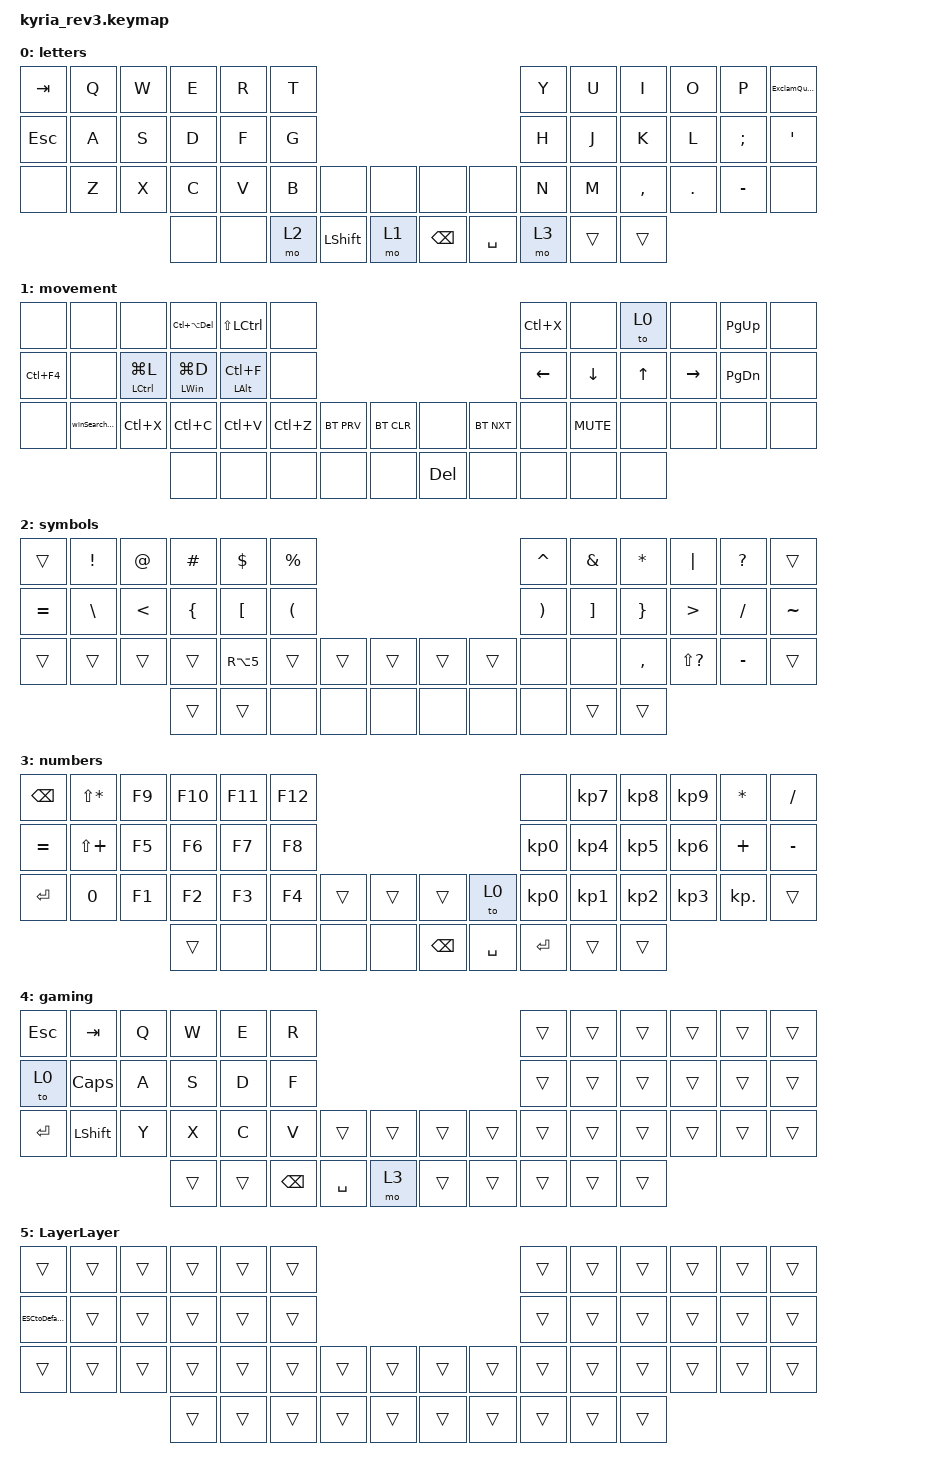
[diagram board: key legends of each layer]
/*
 * Copyright (c) 2023 The ZMK Contributors
 *
 * SPDX-License-Identifier: MIT
 */

#include <behaviors.dtsi>
#include <dt-bindings/zmk/bt.h>
#include <dt-bindings/zmk/keys.h>

// layer numbers

#define default 0
#define writing 1

// Uncomment this block if using RGB

&led_strip {
    //chain-length = <6>;
    // chain-length = <31>; // Uncomment if using both per-key and underglow LEDs
    //chain-length = <25>; // Uncomment if using only per-key LEDs.
};

&mt { flavor = "tap-preferred"; };

/ {
    macros {
        ESCtoDefaultLayer: ESCtoDefaultLayer {
            compatible = "zmk,behavior-macro";
            #binding-cells = <0>;
            bindings = <&kp ESC &to 1>;
            label = "ESCTODEFAULTLAYER";
        };

        winSearchForProg: winSearchForProg {
            compatible = "zmk,behavior-macro";
            #binding-cells = <0>;
            bindings = <&kp LEFT_GUI &to 0>;
            label = "WINSEARCHFORPROG";
        };
    };

    combos {
        compatible = "zmk,combos";

        toNumberLayer {
            bindings = <&to 3>;
            key-positions = <42 47>;
        };

        toTheLayerLayer {
            bindings = <&mo 5>;
            key-positions = <44 45>;
        };

        BLClear {
            bindings = <&bt BT_CLR>;
            key-positions = <30 33>;
        };

        enter {
            bindings = <&kp ENTER>;
            key-positions = <19 20 21>;
        };

        control {
            bindings = <&kp LEFT_CONTROL>;
            key-positions = <12 43>;
        };

        ralt {
            bindings = <&kp RIGHT_ALT>;
            key-positions = <44 12>;
        };

        lalt {
            bindings = <&kp LEFT_ALT>;
            key-positions = <42 12>;
        };

        LAlt+CTRL {
            bindings = <&kp LC(LEFT_ALT)>;
            key-positions = <43 42 12>;
        };

        RAlt+CTRL {
            bindings = <&kp RC(RIGHT_ALT)>;
            key-positions = <44 43 12>;
        };
    };

    behaviors {
        ExclamQuestionMark: ExclamQuestionMark {
            compatible = "zmk,behavior-tap-dance";
            label = "EXCLAMQUESTIONMARK";
            #binding-cells = <0>;
            bindings = <&kp QUESTION>, <&kp EXCLAMATION>;
        };
    };

    keymap {
        compatible = "zmk,keymap";

        writing {
            bindings = <
&kp TAB     &kp Q  &kp W  &kp E  &kp R  &kp T                                              &kp Y  &kp U   &kp I      &kp O       &kp P          &ExclamQuestionMark
&kp ESCAPE  &kp A  &kp S  &kp D  &kp F  &kp G                                              &kp H  &kp J   &kp K      &kp L       &kp SEMICOLON  &kp SINGLE_QUOTE
&none       &kp Z  &kp X  &kp C  &kp V  &kp B  &none           &none  &none     &none      &kp N  &kp M   &kp COMMA  &kp PERIOD  &kp MINUS      &none
                          &none  &none  &mo 2  &kp LEFT_SHIFT  &mo 1  &kp BSPC  &kp SPACE  &mo 3  &trans  &trans
            >;

            label = "letters";
        };

        Movement {
            // ---------------------------------------------------------------------------------------------------------------------------------
            // |  ESC  |  Q  |  W  |  E   |  R   |  T   |                                          |  Y   |  U    |  I    |  O   |   P   |   \  |
            // |  TAB  |  A  |  S  |  D   |  F   |  G   |                                          |  H   |  J    |  K    |  L   |   ;   |   '  |
            // | SHIFT |  Z  |  X  |  C   |  V   |  B   | L SHIFT | L SHIFT |  | L SHIFT | L SHIFT |  N   |  M    |  ,    |  .   |   /   | CTRL |
            //                     | GUI  | DEL  | RET  |  SPACE  |   ESC   |  |   RET   |  SPACE  | TAB  | BSPC  | R-ALT |

            bindings = <
&none       &none              &none                   &kp LC(LA(DELETE))  &kp LS(LEFT_CONTROL)  &none                                                   &kp LC(X)  &none       &to 0   &none      &kp PAGE_UP    &none
&kp LC(F4)  &none              &mt LEFT_CONTROL LG(L)  &mt LEFT_WIN LG(D)  &mt LEFT_ALT LC(F)    &none                                                   &kp LEFT   &kp DOWN    &kp UP  &kp RIGHT  &kp PAGE_DOWN  &none
&none       &winSearchForProg  &kp LC(X)               &kp LC(C)           &kp LC(V)             &kp LC(Z)  &bt BT_PRV  &bt BT_CLR  &none    &bt BT_NXT  &none      &kp C_MUTE  &none   &none      &none          &none
                                                       &none               &none                 &none      &none       &none       &kp DEL  &none       &none      &none       &none
            >;

            // rotary sensor binding
            // sensor-bindings = <&inc_dec_kp C_VOL_UP C_VOL_DN &inc_dec_kp PG_UP PG_DN>;

            label = "movement";
        };

        Symbols {
            bindings = <
&trans     &kp EXCLAMATION  &kp AT_SIGN    &kp POUND       &kp DOLLAR        &kp PERCENT                                           &kp CARET              &kp AMPERSAND      &kp ASTERISK     &kp PIPE          &kp QUESTION  &trans
&kp EQUAL  &kp BACKSLASH    &kp LESS_THAN  &kp LEFT_BRACE  &kp LEFT_BRACKET  &kp LEFT_PARENTHESIS                                  &kp RIGHT_PARENTHESIS  &kp RIGHT_BRACKET  &kp RIGHT_BRACE  &kp GREATER_THAN  &kp SLASH     &kp TILDE
&trans     &trans           &trans         &trans          &kp RA(N5)        &trans                &trans  &trans  &trans  &trans  &none                  &none              &kp COMMA        &kp LS(QMARK)     &kp MINUS     &trans
                                           &trans          &trans            &none                 &none   &none   &none   &none   &none                  &trans             &trans
            >;

            label = "symbols";
        };

        Numbers {
            bindings = <
&kp BACKSPACE  &kp LS(STAR)  &kp F9  &kp F10  &kp F11  &kp F12                                            &none            &kp KP_NUMBER_7  &kp KP_NUMBER_8  &kp KP_NUMBER_9  &kp ASTERISK  &kp SLASH
&kp EQUAL      &kp LS(PLUS)  &kp F5  &kp F6   &kp F7   &kp F8                                             &kp KP_NUMBER_0  &kp KP_NUMBER_4  &kp KP_NUMBER_5  &kp KP_NUMBER_6  &kp PLUS      &kp MINUS
&kp ENTER      &kp N0        &kp F1  &kp F2   &kp F3   &kp F4   &trans  &trans  &trans         &to 0      &kp KP_N0        &kp KP_NUMBER_1  &kp KP_NUMBER_2  &kp KP_NUMBER_3  &kp KP_DOT    &trans
                                     &trans   &none    &none    &none   &none   &kp BACKSPACE  &kp SPACE  &kp RET          &trans           &trans
            >;

            label = "numbers";
        };

        Gaming {
            bindings = <
&kp ESCAPE  &kp TAB    &kp Q  &kp W   &kp E   &kp R                                             &trans  &trans  &trans  &trans  &trans  &trans
&to 0       &kp CAPS   &kp A  &kp S   &kp D   &kp F                                             &trans  &trans  &trans  &trans  &trans  &trans
&kp ENTER   &kp LSHFT  &kp Y  &kp X   &kp C   &kp V          &trans     &trans  &trans  &trans  &trans  &trans  &trans  &trans  &trans  &trans
                              &trans  &trans  &kp BACKSPACE  &kp SPACE  &mo 3   &trans  &trans  &trans  &trans  &trans
            >;

            label = "gaming";
        };

        theLayerLayer {
            bindings = <
&trans              &trans  &trans  &trans  &trans  &trans                                  &trans  &trans  &trans  &trans  &trans  &trans
&ESCtoDefaultLayer  &trans  &trans  &trans  &trans  &trans                                  &trans  &trans  &trans  &trans  &trans  &trans
&trans              &trans  &trans  &trans  &trans  &trans  &trans  &trans  &trans  &trans  &trans  &trans  &trans  &trans  &trans  &trans
                                    &trans  &trans  &trans  &trans  &trans  &trans  &trans  &trans  &trans  &trans
            >;

            label = "LayerLayer";
        };
    };
};
